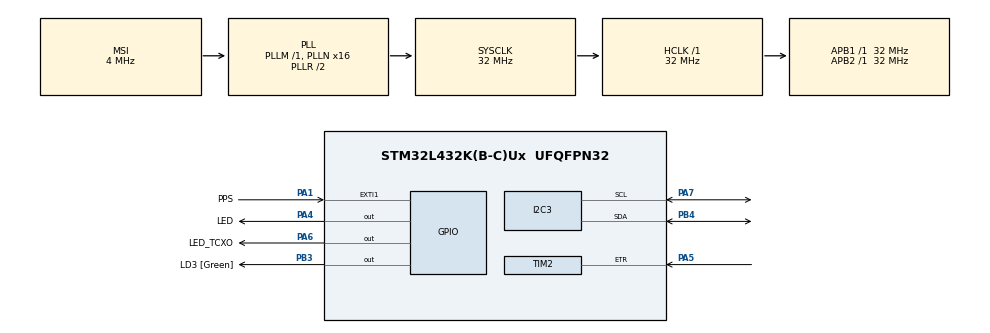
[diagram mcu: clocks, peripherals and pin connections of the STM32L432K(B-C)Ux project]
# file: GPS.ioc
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I2C3.Timing=0x00B07CB4
Mcu.Family=STM32L4
Mcu.Name=STM32L432K(B-C)Ux
Mcu.Package=UFQFPN32
NVIC.EXTI1_IRQn=true\:1\:0\:true\:false\:true\:true\:true\:true
NVIC.PriorityGroup=NVIC_PRIORITYGROUP_4
NVIC.TIM1_BRK_TIM15_IRQn=true\:1\:0\:true\:false\:true\:true\:true\:true
NVIC.TIM1_CC_IRQn=true\:1\:0\:true\:false\:true\:true\:true\:true
NVIC.TIM1_TRG_COM_IRQn=true\:1\:0\:true\:false\:true\:true\:true\:true
NVIC.TIM1_UP_TIM16_IRQn=true\:1\:0\:true\:false\:true\:true\:true\:true
NVIC.TIM2_IRQn=true\:0\:0\:true\:false\:true\:true\:true\:true
PA0.GPIO_Label=MCO [High speed clock in]
PA0.Mode=HSE-External-Clock-Source-for-LittleOrca
PA0.Signal=RCC_CK_IN
PA1.GPIO_Label=PPS
PA1.Signal=GPXTI1
PA13\ (JTMS-SWDIO).GPIO_Label=SWDIO
PA13\ (JTMS-SWDIO).Mode=Serial_Wire
PA13\ (JTMS-SWDIO).Signal=SYS_JTMS-SWDIO
PA14\ (JTCK-SWCLK).GPIO_Label=SWCLK
PA14\ (JTCK-SWCLK).Mode=Serial_Wire
PA14\ (JTCK-SWCLK).Signal=SYS_JTCK-SWCLK
PA2.GPIO_Label=TX
PA2.Signal=USART2_TX
PA3.GPIO_Label=RX
PA3.Signal=USART2_RX
PA4.GPIO_Label=LED
PA4.Signal=GPIO_Output
PA5.GPIO_Speed=GPIO_SPEED_FREQ_VERY_HIGH
PA5.Signal=S_TIM2_ETR
PA6.GPIO_Label=LED_TCXO
PA6.Signal=GPIO_Output
PA7.Mode=I2C
PA7.Signal=I2C3_SCL
PB3\ (JTDO-TRACESWO).GPIO_Label=LD3 [Green]
PB3\ (JTDO-TRACESWO).Signal=GPIO_Output
PB4\ (NJTRST).Mode=I2C
PB4\ (NJTRST).Signal=I2C3_SDA
PC14-OSC32_IN\ (PC14).Mode=LSE-External-Oscillator
PC14-OSC32_IN\ (PC14).Signal=RCC_OSC32_IN
PC15-OSC32_OUT\ (PC15).Mode=LSE-External-Oscillator
PC15-OSC32_OUT\ (PC15).Signal=RCC_OSC32_OUT
ProjectManager.HeapSize=0x200
ProjectManager.StackSize=0x400
ProjectManager.TargetToolchain=STM32CubeIDE
RCC.AHBFreq_Value=32000000
RCC.APB1Freq_Value=32000000
RCC.APB1TimFreq_Value=32000000
RCC.APB2Freq_Value=32000000
RCC.APB2TimFreq_Value=32000000
RCC.CortexFreq_Value=32000000
RCC.HCLKFreq_Value=32000000
RCC.HSE_VALUE=8000000
RCC.HSI16_VALUE=16000000
RCC.HSI48_VALUE=48000000
RCC.HSI_VALUE=16000000
RCC.MSI_VALUE=4000000
RCC.PLLMUL=RCC_PLLMUL_4
RCC.PLLN=16
RCC.SYSCLKFreq_VALUE=32000000
RCC.SYSCLKSource=RCC_SYSCLKSOURCE_PLLCLK
RCC.VCOOutputFreq_Value=64000000
SH.S_TIM2_ETR.0=TIM2_ETR,ClockSourceETR_Mode2
TIM1.Period=1000-1
TIM1.Prescaler=32-1
TIM2.Period=100-1
VP_TIM1_VS_ClockSourceINT.Mode=Internal
board=NUCLEO-L432KC

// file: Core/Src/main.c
/* USER CODE BEGIN Header */
/**
  ******************************************************************************
  * @file           : main.c
  * @brief          : Main program body
  ******************************************************************************
  * @attention
  *
  * Copyright (c) 2025 STMicroelectronics.
  * All rights reserved.
  *
  * This software is licensed under terms that can be found in the LICENSE file
  * in the root directory of this software component.
  * If no LICENSE file comes with this software, it is provided AS-IS.
  *
  ******************************************************************************
  */
/* USER CODE END Header */
#include "main.h"
#include "i2c.h"
#include "tim.h"
#include "gpio.h"

/* USER CODE BEGIN Includes */
#include <string.h>
#include <stdio.h>
#include "LCD_I2C.h"
#include <math.h>
/* USER CODE END Includes */

/* USER CODE BEGIN PD */

#define GPS_BUFFER_SIZE 256
/* USER CODE END PD */

void SystemClock_Config(void);

/* USER CODE BEGIN 0 */

//uint8_t gps_buffer[GPS_BUFFER_SIZE];
uint32_t system_clock = 0;
uint32_t gps_clock = 0;
uint32_t tcxo_clock = 0;
uint32_t tcxo_counter = 0;
//uint32_t previousTick = 0;
uint32_t PrevTime = 0;
uint32_t gps_time = 0;
uint32_t response_time = 0;

float TCXO_PPM = 0.0;
float SYS_PPM = 0.0;

int32_t sys_diff = 0;
int32_t accumulated_time = 0;
int32_t disciplined_time = 0;

uint8_t LED_flag = 0;
uint8_t LED_flag2 = 0;
uint8_t tcxo_flag = 1;
uint8_t PPS_flag = 0;
uint8_t sys_counter = 0;
uint8_t pps_counter = 0;

//void HAL_UART_RxCpltCallback(UART_HandleTypeDef *huart) {
//    if (huart->Instance == USART2) {
//        if (strstr((char *)gps_buffer, "$GPRMC") && gps_buffer[18] == 'A') {
//            HAL_GPIO_WritePin(LED_GPIO_Port, LED_Pin, GPIO_PIN_SET); // 定位成功，点�????????????????????????????????? LED
//        } else {
//            HAL_GPIO_WritePin(LED_GPIO_Port, LED_Pin, GPIO_PIN_RESET); // 未定位，熄灭 LED
//        }
//        HAL_UART_Receive_IT(&huart2, gps_buffer, sizeof(gps_buffer));
//    }
//}

void HAL_TIM_PeriodElapsedCallback(TIM_HandleTypeDef *htim) {
    if (htim->Instance == TIM1) { // internal clock 1kHz
//    	uint32_t currentTick = HAL_GetTick();
//    	system_clock += (currentTick - previousTick)/1000; // system_clock in ms
//    	previousTick = currentTick;
    	sys_counter += 1;
    	system_clock += 1;
    	if (sys_counter >= 999){
    		sys_counter = 0;
    	}
    	response_time = HAL_GetTick() - gps_time;
    	if(response_time < 1001){
    		PPS_flag = 1;
    	}
    	else{
    		PPS_flag = 0;
    		PrevTime = 0;
    		TCXO_PPM = 0.0;
    	}
	}
	if (htim->Instance == TIM2) {
		tcxo_counter += 1; // 100k Hz TCXO
		tcxo_clock += 1;
		if(tcxo_counter >= 99999){
			tcxo_counter = 0;
			if (LED_flag2 == 0){
				HAL_GPIO_WritePin(LED_TCXO_GPIO_Port, LED_TCXO_Pin, GPIO_PIN_SET);
				LED_flag2 = !LED_flag2;
			}
			else{
				HAL_GPIO_WritePin(LED_TCXO_GPIO_Port, LED_TCXO_Pin, GPIO_PIN_RESET);
				LED_flag2 = !LED_flag2;
			}
		}
//		if (tcxo_flag == 1 && tcxo_clock > 1){ // compensate the initial error observed in tcxo if necessary
//			tcxo_clock -= 1;
//			tcxo_flag = 0;
//		}
	}
}

void HAL_GPIO_EXTI_Callback(uint16_t GPIO_Pin) {
    if (GPIO_Pin == PPS_Pin) {
		if (PPS_flag == 1){
			if(PrevTime == 0){
				PrevTime = tcxo_counter;
			}
			else{
				if(pps_counter >= 99){ // every 100 seconds, 10M count will be collected to calculate PPM with 0.1 precision
					disciplined_time += accumulated_time;
					TCXO_PPM = (float)accumulated_time / 10.0;
					pps_counter = 0;
					int32_t temp = tcxo_counter - disciplined_time;
					accumulated_time = temp - (int32_t)PrevTime - 1;
					PrevTime = temp;
					tcxo_counter -= disciplined_time; // process of disciplining
				}
				else{
					pps_counter += 1;
					int32_t temp = tcxo_counter;
					accumulated_time += temp - (int32_t)PrevTime - 1 ;
					PrevTime = temp;
				}
			}
			if (LED_flag == 0){
				HAL_GPIO_WritePin(LED_GPIO_Port, LED_Pin, GPIO_PIN_SET);
				LED_flag = !LED_flag;
			}
			else{
				HAL_GPIO_WritePin(LED_GPIO_Port, LED_Pin, GPIO_PIN_RESET);
				LED_flag = !LED_flag;
			}
		}
		gps_time = HAL_GetTick();
    }
}

void print_PPM(float TCXO_PPM, float SYS_PPM) {
    int int_TCXO_PPM = (int)TCXO_PPM;   // Extract integer part
    unsigned int decimal_TCXO_PPM = (unsigned int)(fabs(TCXO_PPM - int_TCXO_PPM) * 10);  // Extract first decimal digit
    int int_SYS_PPM = (int)SYS_PPM;   // Extract integer part
    unsigned int decimal_SYS_PPM = (unsigned int)(fabs(SYS_PPM - int_SYS_PPM) * 10);  // Extract first decimal digit

	char tcxoPPM[15];
	char sysPPM[15];

    snprintf(tcxoPPM, sizeof(tcxoPPM), "P=%+d.%u", int_TCXO_PPM, decimal_TCXO_PPM);
    snprintf(sysPPM, sizeof(sysPPM), "P=%+d.%u", int_SYS_PPM, decimal_SYS_PPM);
	LCD_Set_Cursor(1,0);
	LCD_Send_String("                ");
	LCD_Set_Cursor(1,0);
	LCD_Send_String(sysPPM);
	LCD_Set_Cursor(1,10);
	LCD_Send_String(tcxoPPM);
}

/* USER CODE END 0 */

int main(void)
{

  /* MCU Configuration--------------------------------------------------------*/

  /* Reset of all peripherals, Initializes the Flash interface and the Systick. */
  HAL_Init();

  /* Configure the system clock */
  SystemClock_Config();

  /* Initialize all configured peripherals */
  MX_GPIO_Init();
  MX_I2C3_Init();
  MX_TIM2_Init();
  MX_TIM1_Init();
  /* USER CODE BEGIN 2 */
  LCD_Init();
  HAL_TIM_Base_Start_IT(&htim2);
  HAL_TIM_Base_Start_IT(&htim1);
  /* USER CODE END 2 */

  /* Infinite loop */
  /* USER CODE BEGIN WHILE */
  while (1)
  {
	if(sys_counter == 1){
		uint32_t tcxo = tcxo_clock / 100;
		sys_diff = (int32_t)(system_clock - tcxo);
//		SYS_PPM = (float)((int64_t)sys_diff * 1000000LL) / (float)tcxo;
		SYS_PPM = ((float)sys_diff / (float)tcxo) * 1000000.0f;
//		char systemClock[10];
		char tcxoClock[10];
		char GPSClock[10];
		char sysDiff[10];
		char accTime[10];
//		char tcxoPPM[15];
//		char sysPPM[15];
		// Format the signed PPM value with snprintf
//		snprintf(systemClock, sizeof(systemClock), "S=%lu", system_clock);
		snprintf(tcxoClock, sizeof(tcxoClock), "T=%lu", (tcxo/1000));
		snprintf(GPSClock, sizeof(GPSClock), "G=%u", pps_counter);
		snprintf(sysDiff, sizeof(sysDiff), "D=%+d", (int)sys_diff);
		snprintf(accTime, sizeof(accTime), "A=%+d", (int)accumulated_time);
//		snprintf(tcxoPPM, sizeof(tcxoPPM), "P=%+.1f", (float)TCXO_PPM); // %+d includes the sign
//		snprintf(sysPPM, sizeof(sysPPM), "P=%+.1f", (float)SYS_PPM);
//		snprintf(tcxoPPM, sizeof(tcxoPPM), "P=%+d", (int)TCXO_PPM); // %+d includes the sign
//		snprintf(sysPPM, sizeof(sysPPM), "P=%+d", (int)SYS_PPM);
		// Send the formatted string to the LCD
//		LCD_Set_Cursor(0,0);
//		LCD_Send_String(systemClock);
		LCD_Set_Cursor(0,0);
		LCD_Send_String("                ");
		LCD_Set_Cursor(0,0);
		LCD_Send_String(tcxoClock);
		LCD_Set_Cursor(0,6);
//		LCD_Send_String(sysDiff);
		LCD_Send_String(accTime);
		LCD_Set_Cursor(0,12);
		LCD_Send_String(GPSClock);

		print_PPM(TCXO_PPM, SYS_PPM);

//		LCD_Set_Cursor(1,0);
//		LCD_Send_String("                ");
//		LCD_Set_Cursor(1,0);
//		LCD_Send_String(sysPPM);
//		LCD_Set_Cursor(1,7);
//		LCD_Send_String(tcxoPPM);
		}
	}
    /* USER CODE END WHILE */

}

void SystemClock_Config(void)
{
  RCC_OscInitTypeDef RCC_OscInitStruct = {0};
  RCC_ClkInitTypeDef RCC_ClkInitStruct = {0};

  /** Configure the main internal regulator output voltage
  */
  if (HAL_PWREx_ControlVoltageScaling(PWR_REGULATOR_VOLTAGE_SCALE1) != HAL_OK)
  {
    Error_Handler();
  }

  /** Configure LSE Drive Capability
  */
  HAL_PWR_EnableBkUpAccess();
  __HAL_RCC_LSEDRIVE_CONFIG(RCC_LSEDRIVE_LOW);

  /** Initializes the RCC Oscillators according to the specified parameters
  * in the RCC_OscInitTypeDef structure.
  */
  RCC_OscInitStruct.OscillatorType = RCC_OSCILLATORTYPE_LSE|RCC_OSCILLATORTYPE_MSI;
  RCC_OscInitStruct.LSEState = RCC_LSE_ON;
  RCC_OscInitStruct.MSIState = RCC_MSI_ON;
  RCC_OscInitStruct.MSICalibrationValue = 0;
  RCC_OscInitStruct.MSIClockRange = RCC_MSIRANGE_6;
  RCC_OscInitStruct.PLL.PLLState = RCC_PLL_ON;
  RCC_OscInitStruct.PLL.PLLSource = RCC_PLLSOURCE_MSI;
  RCC_OscInitStruct.PLL.PLLM = 1;
  RCC_OscInitStruct.PLL.PLLN = 16;
  RCC_OscInitStruct.PLL.PLLP = RCC_PLLP_DIV7;
  RCC_OscInitStruct.PLL.PLLQ = RCC_PLLQ_DIV2;
  RCC_OscInitStruct.PLL.PLLR = RCC_PLLR_DIV2;
  if (HAL_RCC_OscConfig(&RCC_OscInitStruct) != HAL_OK)
  {
    Error_Handler();
  }

  /** Initializes the CPU, AHB and APB buses clocks
  */
  RCC_ClkInitStruct.ClockType = RCC_CLOCKTYPE_HCLK|RCC_CLOCKTYPE_SYSCLK
                              |RCC_CLOCKTYPE_PCLK1|RCC_CLOCKTYPE_PCLK2;
  RCC_ClkInitStruct.SYSCLKSource = RCC_SYSCLKSOURCE_PLLCLK;
  RCC_ClkInitStruct.AHBCLKDivider = RCC_SYSCLK_DIV1;
  RCC_ClkInitStruct.APB1CLKDivider = RCC_HCLK_DIV1;
  RCC_ClkInitStruct.APB2CLKDivider = RCC_HCLK_DIV1;

  if (HAL_RCC_ClockConfig(&RCC_ClkInitStruct, FLASH_LATENCY_1) != HAL_OK)
  {
    Error_Handler();
  }

  /** Enable MSI Auto calibration
  */
  HAL_RCCEx_EnableMSIPLLMode();
}

void Error_Handler(void)
{
  __disable_irq();
  while (1)
  {
  }
}
